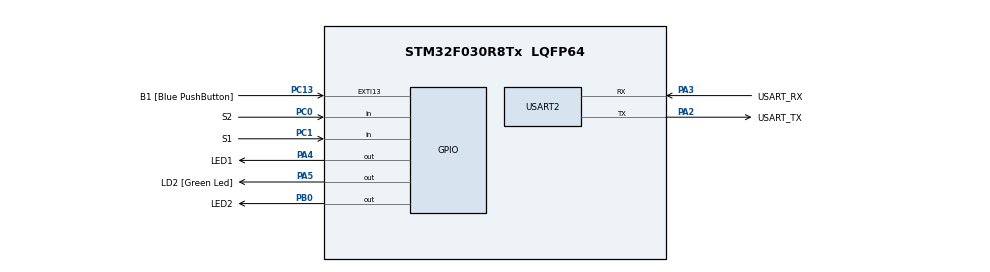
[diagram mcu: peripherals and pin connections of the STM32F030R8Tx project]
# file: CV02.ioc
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Mcu.Family=STM32F0
Mcu.Name=STM32F030R8Tx
Mcu.Package=LQFP64
PA13.GPIO_Label=TMS
PA13.Mode=Serial_Wire
PA13.Signal=SYS_SWDIO
PA14.GPIO_Label=TCK
PA14.Mode=Serial_Wire
PA14.Signal=SYS_SWCLK
PA2.GPIO_Label=USART_TX
PA2.GPIO_Mode=GPIO_MODE_AF_PP
PA2.GPIO_PuPd=GPIO_NOPULL
PA2.GPIO_Speed=GPIO_SPEED_FREQ_LOW
PA2.Mode=Asynchronous
PA2.Signal=USART2_TX
PA3.GPIO_Label=USART_RX
PA3.GPIO_Mode=GPIO_MODE_AF_PP
PA3.GPIO_PuPd=GPIO_NOPULL
PA3.GPIO_Speed=GPIO_SPEED_FREQ_LOW
PA3.Mode=Asynchronous
PA3.Signal=USART2_RX
PA4.GPIO_Label=LED1
PA4.Signal=GPIO_Output
PA5.GPIO_Label=LD2 [Green Led]
PA5.GPIO_Mode=GPIO_MODE_OUTPUT_PP
PA5.GPIO_PuPd=GPIO_NOPULL
PA5.GPIO_Speed=GPIO_SPEED_FREQ_LOW
PA5.Signal=GPIO_Output
PB0.GPIO_Label=LED2
PB0.Signal=GPIO_Output
PC0.GPIO_Label=S2
PC0.GPIO_PuPd=GPIO_PULLUP
PC0.Signal=GPIO_Input
PC1.GPIO_Label=S1
PC1.GPIO_PuPd=GPIO_PULLUP
PC1.Signal=GPIO_Input
PC13.GPIO_Label=B1 [Blue PushButton]
PC13.GPIO_ModeDefaultEXTI=GPIO_MODE_IT_FALLING
PC13.Signal=GPXTI13
PC14-OSC32_IN.Mode=LSE-External-Oscillator
PC14-OSC32_IN.Signal=RCC_OSC32_IN
PC15-OSC32_OUT.Mode=LSE-External-Oscillator
PC15-OSC32_OUT.Signal=RCC_OSC32_OUT
PF0-OSC_IN.Mode=HSE-External-Clock-Source
PF0-OSC_IN.Signal=RCC_OSC_IN
PF1-OSC_OUT.Signal=RCC_OSC_OUT
ProjectManager.HeapSize=0x200
ProjectManager.StackSize=0x400
ProjectManager.TargetToolchain=STM32CubeIDE
RCC.AHBFreq_Value=48000000
RCC.APB1Freq_Value=48000000
RCC.APB1TimFreq_Value=48000000
RCC.HCLKFreq_Value=48000000
RCC.PLLMUL=RCC_PLL_MUL12
RCC.SYSCLKFreq_VALUE=48000000
RCC.SYSCLKSource=RCC_SYSCLKSOURCE_PLLCLK
USART2.VirtualMode-Asynchronous=VM_ASYNC
board=NUCLEO-F030R8

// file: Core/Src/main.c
/* USER CODE BEGIN Header */
/**
  ******************************************************************************
  * @file           : main.c
  * @brief          : Main program body
  ******************************************************************************
  * @attention
  *
  * Copyright (c) 2024 STMicroelectronics.
  * All rights reserved.
  *
  * This software is licensed under terms that can be found in the LICENSE file
  * in the root directory of this software component.
  * If no LICENSE file comes with this software, it is provided AS-IS.
  *
  ******************************************************************************
  */
/* USER CODE END Header */
#include "main.h"

/* USER CODE BEGIN PD */
#define LED_TIME_BLINK 300
#define LED_TIME_SHORT 100
#define LED_TIME_LONG 1000
#define BUTTON_TIME_DEBOUNCE 5
/* USER CODE END PD */

/* USER CODE BEGIN PV */
volatile uint32_t Tick;

/* USER CODE END PV */

void SystemClock_Config(void);
static void MX_GPIO_Init(void);
static void MX_USART2_UART_Init(void);
/* USER CODE BEGIN PFP */
void blink(void)
{
	static uint32_t delay;
	if (Tick > (delay + LED_TIME_BLINK))
	{
		LL_GPIO_TogglePin(LED1_GPIO_Port, LED1_Pin);
		delay = Tick;
	}

}

void button(void)
{
	static uint32_t debounce_s1 = 0xFFFF;
	static uint32_t debounce_s2 = 0xFFFF;
	static uint32_t delay;
	static uint32_t off_time;
	if (Tick > (delay + BUTTON_TIME_DEBOUNCE))
	{
		delay = Tick;
		debounce_s1 = (debounce_s1 << 1) | LL_GPIO_IsInputPinSet(S1_GPIO_Port, S1_Pin);
		debounce_s2 = (debounce_s2 << 1) | LL_GPIO_IsInputPinSet(S2_GPIO_Port, S2_Pin);

		if (debounce_s1 == 0x7FFF)
		{
			off_time = Tick + LED_TIME_SHORT;
			LL_GPIO_SetOutputPin(LED2_GPIO_Port, LED2_Pin);
		}
		if (debounce_s2 == 0x7FFF)
		{
			off_time = Tick + LED_TIME_LONG;
			LL_GPIO_SetOutputPin(LED2_GPIO_Port, LED2_Pin);
		}

	}
	if (Tick > off_time)
	{
		LL_GPIO_ResetOutputPin(LED2_GPIO_Port, LED2_Pin);
	}

}
/* USER CODE END PFP */

int main(void)
{

  /* MCU Configuration--------------------------------------------------------*/

  /* Reset of all peripherals, Initializes the Flash interface and the Systick. */
  LL_APB1_GRP2_EnableClock(LL_APB1_GRP2_PERIPH_SYSCFG);
  LL_APB1_GRP1_EnableClock(LL_APB1_GRP1_PERIPH_PWR);

  /* Configure the system clock */
  SystemClock_Config();

  /* Initialize all configured peripherals */
  MX_GPIO_Init();
  MX_USART2_UART_Init();
  /* USER CODE BEGIN 2 */
  LL_SYSTICK_EnableIT();
  /* USER CODE END 2 */

  /* Infinite loop */
  /* USER CODE BEGIN WHILE */
  while (1)
  {
	  blink();
	  button();
    /* USER CODE END WHILE */

  }
}

void SystemClock_Config(void)
{
  LL_FLASH_SetLatency(LL_FLASH_LATENCY_1);
  while(LL_FLASH_GetLatency() != LL_FLASH_LATENCY_1)
  {
  }
  LL_RCC_HSI_Enable();

   /* Wait till HSI is ready */
  while(LL_RCC_HSI_IsReady() != 1)
  {

  }
  LL_RCC_HSI_SetCalibTrimming(16);
  LL_RCC_PLL_ConfigDomain_SYS(LL_RCC_PLLSOURCE_HSI_DIV_2, LL_RCC_PLL_MUL_12);
  LL_RCC_PLL_Enable();

   /* Wait till PLL is ready */
  while(LL_RCC_PLL_IsReady() != 1)
  {

  }
  LL_RCC_SetAHBPrescaler(LL_RCC_SYSCLK_DIV_1);
  LL_RCC_SetAPB1Prescaler(LL_RCC_APB1_DIV_1);
  LL_RCC_SetSysClkSource(LL_RCC_SYS_CLKSOURCE_PLL);

   /* Wait till System clock is ready */
  while(LL_RCC_GetSysClkSource() != LL_RCC_SYS_CLKSOURCE_STATUS_PLL)
  {

  }
  LL_Init1msTick(48000000);
  LL_SetSystemCoreClock(48000000);
}

static void MX_USART2_UART_Init(void)
{

  LL_USART_InitTypeDef USART_InitStruct = {0};

  LL_GPIO_InitTypeDef GPIO_InitStruct = {0};

  /* Peripheral clock enable */
  LL_APB1_GRP1_EnableClock(LL_APB1_GRP1_PERIPH_USART2);

  LL_AHB1_GRP1_EnableClock(LL_AHB1_GRP1_PERIPH_GPIOA);
  /**USART2 GPIO Configuration
  PA2   ------> USART2_TX
  PA3   ------> USART2_RX
  */
  GPIO_InitStruct.Pin = USART_TX_Pin;
  GPIO_InitStruct.Mode = LL_GPIO_MODE_ALTERNATE;
  GPIO_InitStruct.Speed = LL_GPIO_SPEED_FREQ_LOW;
  GPIO_InitStruct.OutputType = LL_GPIO_OUTPUT_PUSHPULL;
  GPIO_InitStruct.Pull = LL_GPIO_PULL_NO;
  GPIO_InitStruct.Alternate = LL_GPIO_AF_1;
  LL_GPIO_Init(USART_TX_GPIO_Port, &GPIO_InitStruct);

  GPIO_InitStruct.Pin = USART_RX_Pin;
  GPIO_InitStruct.Mode = LL_GPIO_MODE_ALTERNATE;
  GPIO_InitStruct.Speed = LL_GPIO_SPEED_FREQ_LOW;
  GPIO_InitStruct.OutputType = LL_GPIO_OUTPUT_PUSHPULL;
  GPIO_InitStruct.Pull = LL_GPIO_PULL_NO;
  GPIO_InitStruct.Alternate = LL_GPIO_AF_1;
  LL_GPIO_Init(USART_RX_GPIO_Port, &GPIO_InitStruct);

  USART_InitStruct.BaudRate = 38400;
  USART_InitStruct.DataWidth = LL_USART_DATAWIDTH_8B;
  USART_InitStruct.StopBits = LL_USART_STOPBITS_1;
  USART_InitStruct.Parity = LL_USART_PARITY_NONE;
  USART_InitStruct.TransferDirection = LL_USART_DIRECTION_TX_RX;
  USART_InitStruct.HardwareFlowControl = LL_USART_HWCONTROL_NONE;
  USART_InitStruct.OverSampling = LL_USART_OVERSAMPLING_16;
  LL_USART_Init(USART2, &USART_InitStruct);
  LL_USART_DisableIT_CTS(USART2);
  LL_USART_ConfigAsyncMode(USART2);
  LL_USART_Enable(USART2);

}

static void MX_GPIO_Init(void)
{
  LL_EXTI_InitTypeDef EXTI_InitStruct = {0};
  LL_GPIO_InitTypeDef GPIO_InitStruct = {0};

  /* GPIO Ports Clock Enable */
  LL_AHB1_GRP1_EnableClock(LL_AHB1_GRP1_PERIPH_GPIOC);
  LL_AHB1_GRP1_EnableClock(LL_AHB1_GRP1_PERIPH_GPIOF);
  LL_AHB1_GRP1_EnableClock(LL_AHB1_GRP1_PERIPH_GPIOA);
  LL_AHB1_GRP1_EnableClock(LL_AHB1_GRP1_PERIPH_GPIOB);

  /**/
  LL_GPIO_ResetOutputPin(LED1_GPIO_Port, LED1_Pin);

  /**/
  LL_GPIO_ResetOutputPin(LD2_GPIO_Port, LD2_Pin);

  /**/
  LL_GPIO_ResetOutputPin(LED2_GPIO_Port, LED2_Pin);

  /**/
  LL_SYSCFG_SetEXTISource(LL_SYSCFG_EXTI_PORTC, LL_SYSCFG_EXTI_LINE13);

  /**/
  LL_GPIO_SetPinPull(B1_GPIO_Port, B1_Pin, LL_GPIO_PULL_NO);

  /**/
  LL_GPIO_SetPinMode(B1_GPIO_Port, B1_Pin, LL_GPIO_MODE_INPUT);

  /**/
  EXTI_InitStruct.Line_0_31 = LL_EXTI_LINE_13;
  EXTI_InitStruct.LineCommand = ENABLE;
  EXTI_InitStruct.Mode = LL_EXTI_MODE_IT;
  EXTI_InitStruct.Trigger = LL_EXTI_TRIGGER_FALLING;
  LL_EXTI_Init(&EXTI_InitStruct);

  /**/
  GPIO_InitStruct.Pin = S2_Pin;
  GPIO_InitStruct.Mode = LL_GPIO_MODE_INPUT;
  GPIO_InitStruct.Pull = LL_GPIO_PULL_UP;
  LL_GPIO_Init(S2_GPIO_Port, &GPIO_InitStruct);

  /**/
  GPIO_InitStruct.Pin = S1_Pin;
  GPIO_InitStruct.Mode = LL_GPIO_MODE_INPUT;
  GPIO_InitStruct.Pull = LL_GPIO_PULL_UP;
  LL_GPIO_Init(S1_GPIO_Port, &GPIO_InitStruct);

  /**/
  GPIO_InitStruct.Pin = LED1_Pin;
  GPIO_InitStruct.Mode = LL_GPIO_MODE_OUTPUT;
  GPIO_InitStruct.Speed = LL_GPIO_SPEED_FREQ_LOW;
  GPIO_InitStruct.OutputType = LL_GPIO_OUTPUT_PUSHPULL;
  GPIO_InitStruct.Pull = LL_GPIO_PULL_NO;
  LL_GPIO_Init(LED1_GPIO_Port, &GPIO_InitStruct);

  /**/
  GPIO_InitStruct.Pin = LD2_Pin;
  GPIO_InitStruct.Mode = LL_GPIO_MODE_OUTPUT;
  GPIO_InitStruct.Speed = LL_GPIO_SPEED_FREQ_LOW;
  GPIO_InitStruct.OutputType = LL_GPIO_OUTPUT_PUSHPULL;
  GPIO_InitStruct.Pull = LL_GPIO_PULL_NO;
  LL_GPIO_Init(LD2_GPIO_Port, &GPIO_InitStruct);

  /**/
  GPIO_InitStruct.Pin = LED2_Pin;
  GPIO_InitStruct.Mode = LL_GPIO_MODE_OUTPUT;
  GPIO_InitStruct.Speed = LL_GPIO_SPEED_FREQ_LOW;
  GPIO_InitStruct.OutputType = LL_GPIO_OUTPUT_PUSHPULL;
  GPIO_InitStruct.Pull = LL_GPIO_PULL_NO;
  LL_GPIO_Init(LED2_GPIO_Port, &GPIO_InitStruct);

}

void Error_Handler(void)
{
  __disable_irq();
  while (1)
  {
  }
}
